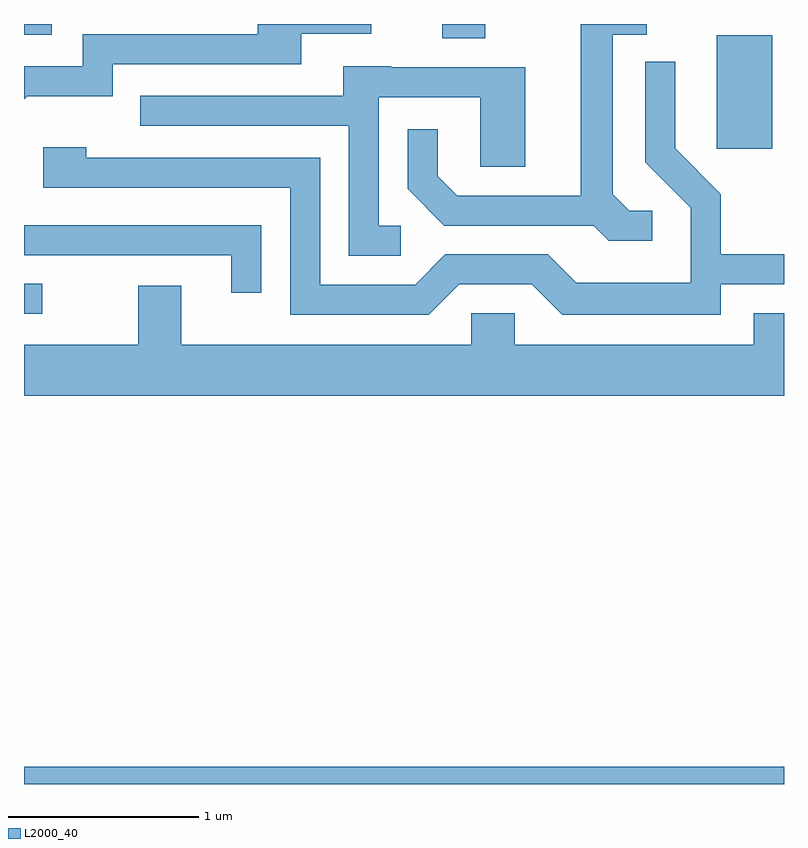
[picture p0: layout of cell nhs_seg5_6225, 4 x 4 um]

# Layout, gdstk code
import gdstk
lib = gdstk.Library(unit=1e-6, precision=1e-09)
def R(c, l, rs):  # rectangles x0, y0, x1, y1
    for r in rs: c.add(gdstk.rectangle(r[:2], r[2:], *l))
def P(c, l, *ps):  # polygons
    for p in ps: c.add(gdstk.Polygon(p, *l))
L2000_40 = (2000, 40)

nhs_seg5_6225 = lib.new_cell('nhs_seg5_6225')
R(nhs_seg5_6225, L2000_40, [(369.611,1468.072,373.611,1468.164), (369.611,1470.546,369.708,1470.704), (373.256,1471.416,373.549,1472.014), (371.811,1471.996,372.039,1472.072), (369.611,1472.016,369.758,1472.072)])
P(nhs_seg5_6225, L2000_40, [(369.627,1471.691),(370.079,1471.691),(370.079,1471.861),(371.069,1471.861),(371.069,1472.021),(371.438,1472.021),(371.438,1472.072),(370.841,1472.072),(370.841,1472.019),(369.921,1472.019),(369.921,1471.849),(369.611,1471.849),(369.611,1471.675)],
  [(372.918,1471.089),(372.797,1471.089),(372.709,1471.177),(372.709,1472.016),(372.888,1472.016),(372.888,1472.072),(372.541,1472.072),(372.541,1471.169),(371.892,1471.169),(371.789,1471.272),(371.789,1471.518),(371.631,1471.518),(371.631,1471.204),(371.824,1471.011),(372.609,1471.011),(372.689,1470.931),(372.918,1470.931)],
  [(371.902,1470.701),(372.284,1470.701),(372.444,1470.541),(373.279,1470.541),(373.279,1470.701),(373.611,1470.701),(373.611,1470.859),(373.279,1470.859),(373.279,1471.177),(373.039,1471.417),(373.039,1471.873),(372.881,1471.873),(372.881,1471.344),(373.121,1471.104),(373.121,1470.709),(372.517,1470.709),(372.367,1470.859),(371.829,1470.859),(371.669,1470.699),(371.169,1470.699),(371.169,1471.369),(369.939,1471.369),(369.939,1471.424),(369.711,1471.424),(369.711,1471.211),(371.011,1471.211),(371.011,1470.541),(371.742,1470.541)],
  [(371.593,1471.009),(371.479,1471.009),(371.479,1471.686),(372.011,1471.686),(372.011,1471.321),(372.249,1471.321),(372.249,1471.844),(371.545,1471.844),(371.545,1471.849),(371.291,1471.849),(371.291,1471.694),(370.223,1471.694),(370.223,1471.536),(371.321,1471.536),(371.321,1470.851),(371.593,1470.851)],
  [(370.859,1471.014),(369.611,1471.014),(369.611,1470.856),(370.701,1470.856),(370.701,1470.658),(370.859,1470.658)],
  [(373.611,1470.549),(373.451,1470.549),(373.451,1470.384),(372.194,1470.384),(372.194,1470.549),(371.966,1470.549),(371.966,1470.384),(370.439,1470.384),(370.439,1470.694),(370.211,1470.694),(370.211,1470.384),(369.611,1470.384),(369.611,1470.116),(373.611,1470.116)])

lib.write_gds('nhs_seg5_6225.gds')
